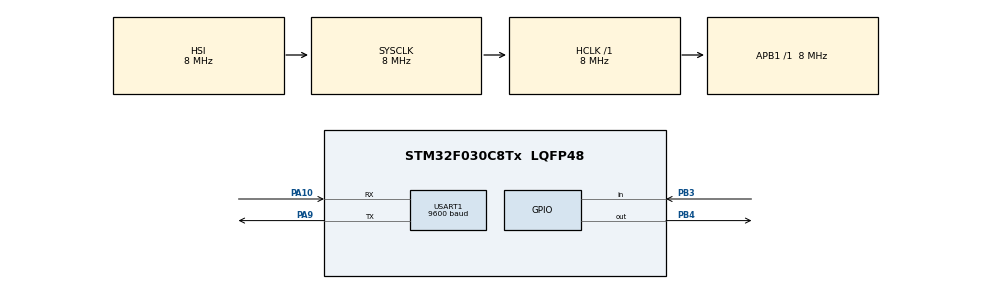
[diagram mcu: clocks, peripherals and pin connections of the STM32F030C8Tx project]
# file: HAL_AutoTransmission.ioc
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Dma.Request0=USART1_TX
Dma.Request1=USART1_RX
Dma.USART1_RX.1.Direction=DMA_PERIPH_TO_MEMORY
Dma.USART1_RX.1.Instance=DMA1_Channel3
Dma.USART1_RX.1.MemDataAlignment=DMA_MDATAALIGN_BYTE
Dma.USART1_RX.1.MemInc=DMA_MINC_ENABLE
Dma.USART1_RX.1.Mode=DMA_CIRCULAR
Dma.USART1_RX.1.PeriphDataAlignment=DMA_PDATAALIGN_BYTE
Dma.USART1_RX.1.PeriphInc=DMA_PINC_DISABLE
Dma.USART1_RX.1.Priority=DMA_PRIORITY_LOW
Dma.USART1_TX.0.Direction=DMA_MEMORY_TO_PERIPH
Dma.USART1_TX.0.Instance=DMA1_Channel2
Dma.USART1_TX.0.MemDataAlignment=DMA_MDATAALIGN_BYTE
Dma.USART1_TX.0.MemInc=DMA_MINC_ENABLE
Dma.USART1_TX.0.Mode=DMA_NORMAL
Dma.USART1_TX.0.PeriphDataAlignment=DMA_PDATAALIGN_BYTE
Dma.USART1_TX.0.PeriphInc=DMA_PINC_DISABLE
Dma.USART1_TX.0.Priority=DMA_PRIORITY_LOW
Mcu.Family=STM32F0
Mcu.Name=STM32F030C8Tx
Mcu.Package=LQFP48
NVIC.DMA1_Channel2_3_IRQn=true\:0\:0\:false\:false\:true\:false\:true
NVIC.USART1_IRQn=true\:0\:0\:true\:false\:true\:true\:true
PA10.Mode=Asynchronous
PA10.Signal=USART1_RX
PA9.Mode=Asynchronous
PA9.Signal=USART1_TX
PB3.Signal=GPIO_Input
PB4.Signal=GPIO_Output
PF0-OSC_IN.Mode=HSE-External-Oscillator
PF0-OSC_IN.Signal=RCC_OSC_IN
PF1-OSC_OUT.Mode=HSE-External-Oscillator
PF1-OSC_OUT.Signal=RCC_OSC_OUT
ProjectManager.HeapSize=0x200
ProjectManager.StackSize=0x400
ProjectManager.TargetToolchain=MDK-ARM V5
RCC.AHBFreq_Value=8000000
RCC.APB1Freq_Value=8000000
RCC.APB1TimFreq_Value=8000000
RCC.HCLKFreq_Value=8000000
RCC.SYSCLKFreq_VALUE=8000000
USART1.BaudRate=9600
USART1.VirtualMode-Asynchronous=VM_ASYNC
board=custom

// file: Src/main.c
/* USER CODE BEGIN Header */
/**
  ******************************************************************************
  * @file           : main.c
  * @brief          : Main program body
  ******************************************************************************
  * @attention
  *
  * <h2><center>&copy; Copyright (c) 2019 STMicroelectronics.
  * All rights reserved.</center></h2>
  *
  * This software component is licensed by ST under BSD 3-Clause license,
  * the "License"; You may not use this file except in compliance with the
  * License. You may obtain a copy of the License at:
  *                        opensource.org/licenses/BSD-3-Clause
  *
  ******************************************************************************
  */
/* USER CODE END Header */

#include "main.h"
#include "dma.h"
#include "usart.h"
#include "gpio.h"

/* USER CODE BEGIN Includes */
#include "hx711.h"
#include "string.h"
/* USER CODE END Includes */

/* USER CODE BEGIN PV */

#ifdef __GNUC__
#define PUTCHAR_PROTOTYPE int __io_putchar(int ch)
#else
#define PUTCHAR_PROTOTYPE int fputc(int ch, FILE *f)
#endif
PUTCHAR_PROTOTYPE
{
    HAL_UART_Transmit(&huart1 , (uint8_t *)&ch, 1, 0xFFFF);
    return ch;
}

#define MAX_CLI_STRING 400
uint8_t rx_buffer = '\000';
uint8_t rx_string[MAX_CLI_STRING];
uint8_t rx_complete = 0;
uint8_t cmd_len = 0;
uint8_t cmd[MAX_CLI_STRING];
int rx_index = 0;
float Weight = 0;
/* USER CODE END PV */

void SystemClock_Config(void);

int main(void)
{

  /* MCU Configuration--------------------------------------------------------*/

  /* Reset of all peripherals, Initializes the Flash interface and the Systick. */
  HAL_Init();

  /* Configure the system clock */
  SystemClock_Config();

  /* Initialize all configured peripherals */
  MX_GPIO_Init();
  MX_DMA_Init();
  MX_USART1_UART_Init();
  /* USER CODE BEGIN 2 */
	HAL_Delay(1000);
	__HAL_UART_FLUSH_DRREGISTER(&huart1);
	HAL_UART_Receive_DMA(&huart1, &rx_buffer, 1);
  /* USER CODE END 2 */
	Get_Maopi();
  /* Infinite loop */
  while (1)
  {

    /* USER CODE BEGIN 3 */
		Weight = Get_Weight();
		Weight = (float)Weight/1000.0;
		printf("%0.3f kg\n",Weight);
		HAL_Delay(100);
  }
  /* USER CODE END 3 */
}

void SystemClock_Config(void)
{
  RCC_OscInitTypeDef RCC_OscInitStruct = {0};
  RCC_ClkInitTypeDef RCC_ClkInitStruct = {0};
  RCC_PeriphCLKInitTypeDef PeriphClkInit = {0};

  /** Initializes the CPU, AHB and APB busses clocks
  */
  RCC_OscInitStruct.OscillatorType = RCC_OSCILLATORTYPE_HSI;
  RCC_OscInitStruct.HSIState = RCC_HSI_ON;
  RCC_OscInitStruct.HSICalibrationValue = RCC_HSICALIBRATION_DEFAULT;
  RCC_OscInitStruct.PLL.PLLState = RCC_PLL_NONE;
  if (HAL_RCC_OscConfig(&RCC_OscInitStruct) != HAL_OK)
  {
    Error_Handler();
  }
  /** Initializes the CPU, AHB and APB busses clocks
  */
  RCC_ClkInitStruct.ClockType = RCC_CLOCKTYPE_HCLK|RCC_CLOCKTYPE_SYSCLK
                              |RCC_CLOCKTYPE_PCLK1;
  RCC_ClkInitStruct.SYSCLKSource = RCC_SYSCLKSOURCE_HSI;
  RCC_ClkInitStruct.AHBCLKDivider = RCC_SYSCLK_DIV1;
  RCC_ClkInitStruct.APB1CLKDivider = RCC_HCLK_DIV1;

  if (HAL_RCC_ClockConfig(&RCC_ClkInitStruct, FLASH_LATENCY_0) != HAL_OK)
  {
    Error_Handler();
  }
  PeriphClkInit.PeriphClockSelection = RCC_PERIPHCLK_USART1;
  PeriphClkInit.Usart1ClockSelection = RCC_USART1CLKSOURCE_PCLK1;
  if (HAL_RCCEx_PeriphCLKConfig(&PeriphClkInit) != HAL_OK)
  {
    Error_Handler();
  }
}

/* USER CODE BEGIN 4 */
void HAL_UART_RxCpltCallback(UART_HandleTypeDef *huart) {
	__HAL_UART_FLUSH_DRREGISTER(&huart1);

	if (rx_buffer == '#') {
		for(int i = 0; i < rx_index; i++){
			cmd[i] = rx_string[i];
		}
		cmd_len = rx_index;
		rx_complete = 1;

		rx_index = 0;
		for(int i = 0; i < MAX_CLI_STRING; i++) rx_string[i] = 0;
	} else {
		if (rx_index >= MAX_CLI_STRING) {
				rx_index = 0;
				for(int i = 0; i < MAX_CLI_STRING; i++) rx_string[i] = 0;
		}
		rx_string[rx_index] = rx_buffer;
		rx_index++;
	}

}

void send_message(UART_HandleTypeDef *huart, uint8_t *data) {
		int data_len = strlen((char *)data);
		HAL_UART_Transmit(huart, data, data_len, 1000);
}
/* USER CODE END 4 */

void Error_Handler(void)
{
}

/************************ (C) COPYRIGHT STMicroelectronics *****END OF FILE****/
